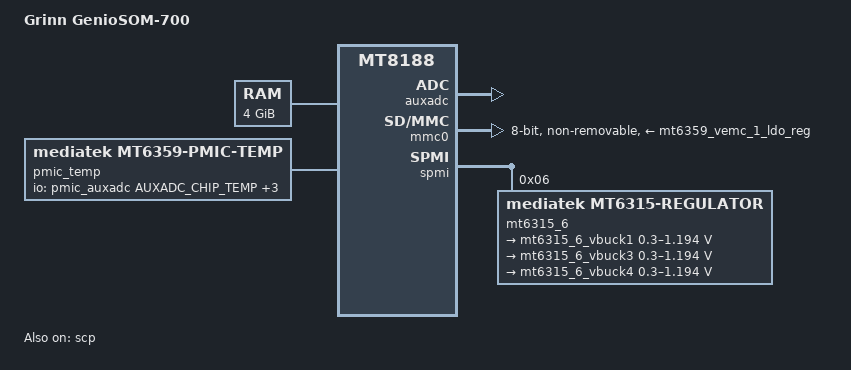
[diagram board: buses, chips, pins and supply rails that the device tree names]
// SPDX-License-Identifier: (GPL-2.0 OR MIT)
/*
 * Copyright (C) 2025 Grinn sp. z o.o.
 * Author: Grzegorz Runc <grzegorz.runc@grinn-global.com>
 */
/dts-v1/;
#include "mt8188.dtsi"
#include "mt6359.dtsi"
#include <dt-bindings/gpio/gpio.h>
#include <dt-bindings/input/input.h>
#include <dt-bindings/interrupt-controller/irq.h>
#include <dt-bindings/pinctrl/mediatek,mt8188-pinfunc.h>

/ {
	model = "Grinn GenioSOM-700";
	compatible = "mediatek,mt8390-evk", "mediatek,mt8188";

	memory@40000000 {
		device_type = "memory";
		reg = <0 0x40000000 0x1 0x00000000>;
	};

	reserved-memory {
		#address-cells = <2>;
		#size-cells = <2>;
		ranges;

		adsp_dma_mem_reserved: adsp-dma-mem-region {
			compatible = "shared-dma-pool";
			reg = <0 0x61000000 0 0x100000>;
			no-map;
		};

		adsp_mem_reserved: adsp-mem-region {
			compatible = "shared-dma-pool";
			no-map;
			reg = <0 0x60000000 0 0xf00000>;
		};

		apu_reserve_memory: apu-reserve-memory{
			compatible = "shared-dma-pool";
			size = <0 0x1400000>; //20 MB
			alignment = <0 0x10000>;
			reg = <0 0x55000000 0 0x1400000>;
		};

		afe_dma_mem_reserved: snd-dma-mem-region {
			compatible = "shared-dma-pool";
			no-map;
			reg = <0 0x60f00000 0 0x100000>;
		};

		vpu_reserve_memory: vpu-reserve-memory {
			compatible = "shared-dma-pool";
			size = <0 0x1400000>; //20 MB
			alignment = <0 0x10000>;
			reg = <0 0x57000000 0 0x1400000>;
		};

		/* 12 MiB reserved for OP-TEE (BL32)
		 * +-----------------------+ 0x43e0_0000
		 * |      SHMEM 2MiB       |
		 * +-----------------------+ 0x43c0_0000
		 * |        | TA_RAM  8MiB |
		 * + TZDRAM +--------------+ 0x4340_0000
		 * |        | TEE_RAM 2MiB |
		 * +-----------------------+ 0x4320_0000
		 */
		optee_reserved: optee@43200000 {
			no-map;
			reg = <0 0x43200000 0 0x00c00000>;
		};

		scp_mem_reserved: scp-mem-region {
			compatible = "shared-dma-pool";
			reg = <0 0x50000000 0 0x2900000>;
			no-map;
		};

		/* 2 MiB reserved for ARM Trusted Firmware (BL31) */
		bl31_secmon_reserved: secmon@54600000 {
			no-map;
			reg = <0 0x54600000 0x0 0x200000>;
		};
	};

	firmware {
		optee {
			compatible = "linaro,optee-tz";
			method = "smc";
		};
	};
	
	pmic_temp: pmic-temp {
		compatible = "mediatek,mt6359-pmic-temp";
		io-channels =
			<&pmic_auxadc AUXADC_CHIP_TEMP>,
			<&pmic_auxadc AUXADC_VCORE_TEMP>,
			<&pmic_auxadc AUXADC_VPROC_TEMP>,
			<&pmic_auxadc AUXADC_VGPU_TEMP>;
		io-channel-names =
			"pmic_chip_temp",
			"pmic_buck1_temp",
			"pmic_buck2_temp",
			"pmic_buck3_temp";

		#thermal-sensor-cells = <1>;
		nvmem-cells = <&thermal_efuse_data1>;
		nvmem-cell-names = "e_data1";
	};
};

&thermal_zones {
	pmic-temp {
		polling-delay = <1000>; /* milliseconds */
		polling-delay-passive = <1000>; /* milliseconds */
		thermal-sensors = <&pmic_temp 0>;

		trips {
			pmic_temp_crit: pmic-temp-crit@0 {
				temperature = <130000>;
				hysteresis = <2000>;
				type = "critical";
			};
		};
	};
	pmic-vcore {
		polling-delay = <0>; /* milliseconds */
		polling-delay-passive = <0>; /* milliseconds */
		thermal-sensors = <&pmic_temp 1>;
	};
	pmic-vproc {
		polling-delay = <0>; /* milliseconds */
		polling-delay-passive = <0>; /* milliseconds */
		thermal-sensors = <&pmic_temp 2>;
	};
	pmic-vgpu {
		polling-delay = <0>; /* milliseconds */
		polling-delay-passive = <0>; /* milliseconds */
		thermal-sensors = <&pmic_temp 3>;
	};
};

&auxadc {
	status = "okay";
};

&adsp {
	memory-region = <&adsp_dma_mem_reserved>,
		<&adsp_mem_reserved>;
};

&pio {
	i2c1_pin: i2c1-pin {
		pins-bus {
			pinmux = <PINMUX_GPIO58__FUNC_B1_SDA1>,
				 <PINMUX_GPIO57__FUNC_B1_SCL1>;
			bias-pull-up = <MTK_PULL_SET_RSEL_011>;
			mediatek,drive-strength-adv = <7>;
		};
	};

	mmc0_pins_default: mmc0default {
		pins-cmd-dat {
			pinmux = <PINMUX_GPIO161__FUNC_B1_MSDC0_DAT0>,
				 <PINMUX_GPIO160__FUNC_B1_MSDC0_DAT1>,
				 <PINMUX_GPIO159__FUNC_B1_MSDC0_DAT2>,
				 <PINMUX_GPIO158__FUNC_B1_MSDC0_DAT3>,
				 <PINMUX_GPIO154__FUNC_B1_MSDC0_DAT4>,
				 <PINMUX_GPIO153__FUNC_B1_MSDC0_DAT5>,
				 <PINMUX_GPIO152__FUNC_B1_MSDC0_DAT6>,
				 <PINMUX_GPIO151__FUNC_B1_MSDC0_DAT7>,
				 <PINMUX_GPIO156__FUNC_B1_MSDC0_CMD>;
			input-enable;
			drive-strength = <MTK_DRIVE_6mA>;
			bias-pull-up = <MTK_PUPD_SET_R1R0_01>;
		};

		pins-clk {
			pinmux = <PINMUX_GPIO157__FUNC_B1_MSDC0_CLK>;
			drive-strength = <MTK_DRIVE_6mA>;
			bias-pull-down = <MTK_PUPD_SET_R1R0_10>;
		};

		pins-rst {
			pinmux = <PINMUX_GPIO155__FUNC_O_MSDC0_RSTB>;
			drive-strength = <MTK_DRIVE_6mA>;
			bias-pull-up = <MTK_PUPD_SET_R1R0_01>;
		};
	};

	mmc0_pins_uhs: mmc0uhs{
		pins-cmd-dat {
			pinmux = <PINMUX_GPIO161__FUNC_B1_MSDC0_DAT0>,
				 <PINMUX_GPIO160__FUNC_B1_MSDC0_DAT1>,
				 <PINMUX_GPIO159__FUNC_B1_MSDC0_DAT2>,
				 <PINMUX_GPIO158__FUNC_B1_MSDC0_DAT3>,
				 <PINMUX_GPIO154__FUNC_B1_MSDC0_DAT4>,
				 <PINMUX_GPIO153__FUNC_B1_MSDC0_DAT5>,
				 <PINMUX_GPIO152__FUNC_B1_MSDC0_DAT6>,
				 <PINMUX_GPIO151__FUNC_B1_MSDC0_DAT7>,
				 <PINMUX_GPIO156__FUNC_B1_MSDC0_CMD>;
			input-enable;
			drive-strength = <MTK_DRIVE_8mA>;
			bias-pull-up = <MTK_PUPD_SET_R1R0_01>;
		};

		pins-clk {
			pinmux = <PINMUX_GPIO157__FUNC_B1_MSDC0_CLK>;
			drive-strength = <MTK_DRIVE_8mA>;
			bias-pull-down = <MTK_PUPD_SET_R1R0_10>;
		};

		pins-ds {
			pinmux = <PINMUX_GPIO162__FUNC_B0_MSDC0_DSL>;
			drive-strength = <MTK_DRIVE_8mA>;
			bias-pull-down = <MTK_PUPD_SET_R1R0_10>;
		};

		pins-rst {
			pinmux = <PINMUX_GPIO155__FUNC_O_MSDC0_RSTB>;
			drive-strength = <MTK_DRIVE_8mA>;
			bias-pull-up = <MTK_PUPD_SET_R1R0_01>;
		};
	};
};

&i2c1 {
	pinctrl-names = "default";
	pinctrl-0 = <&i2c1_pin>;
	clock-frequency = <400000>;
	status = "disabled";
};

&pmic {
	interrupt-parent = <&pio>;
	interrupts = <222 IRQ_TYPE_LEVEL_HIGH>;

	pmic_key: pmic-key {
		compatible = "mediatek,mt6359-keys";
		mediatek,long-press-mode = <1>;
		power-off-time-sec = <0>;

		power-key{
			linux,keycodes = <116>;
			wakeup-source;
		};

		home-key{
			linux,keycodes = <114>;
		};
	};
};

&scp {
	memory-region = <&scp_mem_reserved>;
	status = "okay";
};

&mt6359_vbbck_ldo_reg {
	regulator-always-on;
};

&mt6359_vcn33_1_bt_ldo_reg {
	regulator-always-on;
};

&mt6359_vcn33_2_bt_ldo_reg {
	regulator-always-on;
};

&mt6359_vcore_buck_reg {
	regulator-always-on;
};

&mt6359_vgpu11_buck_reg {
	regulator-always-on;
};

&mt6359_vpu_buck_reg {
	regulator-always-on;
};

&mt6359_vrf12_ldo_reg {
	regulator-always-on;
};

&mt6359_vufs_ldo_reg {
	regulator-always-on;
};

&mmc0 {
	status = "okay";
	pinctrl-names = "default", "state_uhs";
	pinctrl-0 = <&mmc0_pins_default>;
	pinctrl-1 = <&mmc0_pins_uhs>;
	bus-width = <8>;
	max-frequency = <200000000>;
	cap-mmc-highspeed;
	mmc-hs200-1_8v;
	mmc-hs400-1_8v;
	supports-cqe;
	cap-mmc-hw-reset;
	no-sdio;
	no-sd;
	hs400-ds-delay = <0x1481b>;
	vmmc-supply = <&mt6359_vemc_1_ldo_reg>;
	vqmmc-supply = <&mt6359_vufs_ldo_reg>;
	non-removable;
};

&mt6359_vpa_buck_reg {
	regulator-max-microvolt = <3100000>;
};

&mt6359_vsim1_ldo_reg {
	regulator-enable-ramp-delay = <480>;
};

&mt6359_vcn18_ldo_reg {
	regulator-always-on;
};

&spmi {
	mt6315_6: mt6315@6 {
		compatible = "mediatek,mt6315-regulator";
		reg = <0x6 0 0xb 1>;

		regulators {
			mt6315_6_vbuck1: vbuck1 {
				regulator-compatible = "vbuck1";
				regulator-name = "Vbcpu";
				regulator-min-microvolt = <300000>;
				regulator-max-microvolt = <1193750>;
				regulator-enable-ramp-delay = <256>;
				regulator-allowed-modes = <0 1 2>;
				regulator-always-on;
				mtk,combined-regulator = <2>;
			};
			mt6315_6_vbuck3: vbuck3 {
				regulator-compatible = "vbuck3";
				regulator-name = "Vdd2";
				regulator-min-microvolt = <300000>;
				regulator-max-microvolt = <1193750>;
				regulator-enable-ramp-delay = <256>;
				regulator-allowed-modes = <0 1 2>;
				regulator-always-on;
			};
			mt6315_6_vbuck4: vbuck4 {
				regulator-compatible = "vbuck4";
				regulator-name = "Vddq";
				regulator-min-microvolt = <300000>;
				regulator-max-microvolt = <1193750>;
				regulator-enable-ramp-delay = <256>;
				regulator-allowed-modes = <0 1 2>;
				regulator-always-on;
			};
		};
	};
};

&mfg0 {
	domain-supply = <&mt6359_vproc2_buck_reg>;
};

&cam_vcore {
	domain-supply = <&mt6359_vproc1_buck_reg>;
};

&img_vcore {
	domain-supply = <&mt6359_vproc1_buck_reg>;
};
